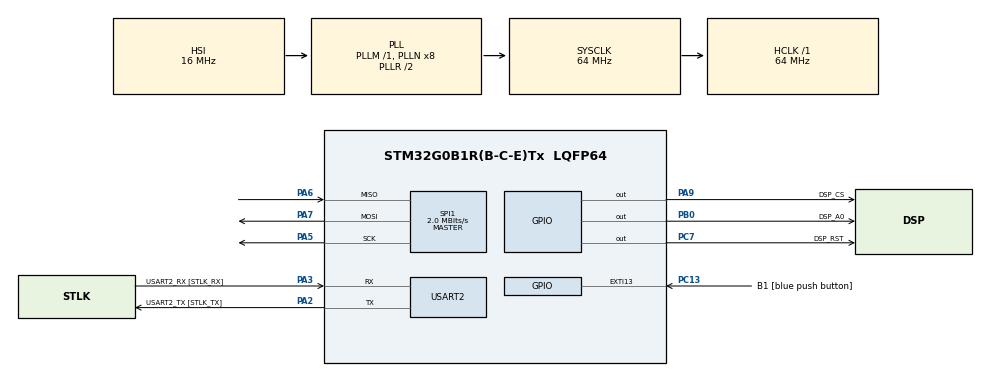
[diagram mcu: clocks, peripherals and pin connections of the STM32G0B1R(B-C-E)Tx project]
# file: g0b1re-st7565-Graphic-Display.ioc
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Mcu.Family=STM32G0
Mcu.Name=STM32G0B1R(B-C-E)Tx
Mcu.Package=LQFP64
PA13.GPIO_Label=TMS
PA13.Mode=Serial_Wire
PA13.Signal=SYS_SWDIO
PA14-BOOT0.GPIO_Label=TCK
PA14-BOOT0.Mode=Serial_Wire
PA14-BOOT0.Signal=SYS_SWCLK
PA2.GPIO_Label=USART2_TX [STLK_TX]
PA2.Mode=Asynchronous
PA2.Signal=USART2_TX
PA3.GPIO_Label=USART2_RX [STLK_RX]
PA3.Mode=Asynchronous
PA3.Signal=USART2_RX
PA5.Mode=Full_Duplex_Master
PA5.Signal=SPI1_SCK
PA6.Mode=Full_Duplex_Master
PA6.Signal=SPI1_MISO
PA7.Mode=Full_Duplex_Master
PA7.Signal=SPI1_MOSI
PA9.GPIO_Label=DSP_CS
PA9.GPIO_Speed=GPIO_SPEED_FREQ_VERY_HIGH
PA9.PinState=GPIO_PIN_SET
PA9.Signal=GPIO_Output
PB0.GPIO_Label=DSP_A0
PB0.GPIO_Speed=GPIO_SPEED_FREQ_VERY_HIGH
PB0.PinState=GPIO_PIN_SET
PB0.Signal=GPIO_Output
PC13.GPIO_Label=B1 [blue push button]
PC13.Signal=GPXTI13
PC14-OSC32_IN\ (PC14).Mode=LSE-External-Oscillator
PC14-OSC32_IN\ (PC14).Signal=RCC_OSC32_IN
PC15-OSC32_OUT\ (PC15).Mode=LSE-External-Oscillator
PC15-OSC32_OUT\ (PC15).Signal=RCC_OSC32_OUT
PC7.GPIO_Label=DSP_RST
PC7.GPIO_Speed=GPIO_SPEED_FREQ_VERY_HIGH
PC7.PinState=GPIO_PIN_SET
PC7.Signal=GPIO_Output
PF0-OSC_IN\ (PF0).GPIO_Label=MCO
PF0-OSC_IN\ (PF0).Mode=HSE-External-Clock-Source
PF0-OSC_IN\ (PF0).Signal=RCC_OSC_IN
ProjectManager.HeapSize=0x200
ProjectManager.StackSize=0x400
ProjectManager.TargetToolchain=STM32CubeIDE
RCC.ADCFreq_Value=64000000
RCC.AHBFreq_Value=64000000
RCC.CortexFreq_Value=64000000
RCC.EXTERNAL_CLOCK_VALUE=12288000
RCC.HCLKFreq_Value=64000000
RCC.HSE_VALUE=8000000
RCC.HSI48_VALUE=48000000
RCC.HSI_VALUE=16000000
RCC.SYSCLKFreq_VALUE=64000000
RCC.SYSCLKSource=RCC_SYSCLKSOURCE_PLLCLK
RCC.USBFreq_Value=48000000
RCC.VCOOutputFreq_Value=128000000
SPI1.BaudRatePrescaler=SPI_BAUDRATEPRESCALER_32
SPI1.CLKPhase=SPI_PHASE_2EDGE
SPI1.CLKPolarity=SPI_POLARITY_HIGH
SPI1.CalculateBaudRate=2.0 MBits/s
SPI1.DataSize=SPI_DATASIZE_8BIT
SPI1.Direction=SPI_DIRECTION_2LINES
SPI1.Mode=SPI_MODE_MASTER
SPI1.VirtualType=VM_MASTER
USART2.VirtualMode-Asynchronous=VM_ASYNC
VP_SYS_VS_DBSignals.Mode=DisableDeadBatterySignals
board=NUCLEO-G0B1RE

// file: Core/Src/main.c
/* USER CODE BEGIN Header */
/**
 ******************************************************************************
 * @file           : main.c
 * @brief          : Main program body
 ******************************************************************************
 * @attention
 *
 * Copyright (c) 2025 STMicroelectronics.
 * All rights reserved.
 *
 * This software is licensed under terms that can be found in the LICENSE file
 * in the root directory of this software component.
 * If no LICENSE file comes with this software, it is provided AS-IS.
 *
 ******************************************************************************
 */
/* USER CODE END Header */
#include "main.h"

/* USER CODE BEGIN Includes */
#include <stdbool.h>
#include <stddef.h>

#include "GraphicDisplay.h"
#include "GraphicDisplay_Fonts.h"
#include "drivers/st7565/st7565.h"
/* USER CODE END Includes */

SPI_HandleTypeDef hspi1;

UART_HandleTypeDef huart2;

/* USER CODE BEGIN PV */
st7565_t St7565 = {0};
gd_t Graphic = {0};

const uint32_t cobra_width = 64;
const uint32_t cobra_height = 64;
const unsigned char cobra_bmp [] ={
		0x00,0x00,0x00,0xb4,0x00,0x00,0x00,0x00,0x00,0x00,0x00,0xef,0x03,0x00,0x00,0x00,
		0x00,0x00,0xc0,0x00,0x06,0x00,0x00,0x00,0x00,0x00,0x60,0x00,0x18,0x00,0x00,0x00,
		0x00,0x00,0x30,0x0e,0x30,0x00,0x00,0x00,0x00,0x00,0x98,0x1b,0x70,0x00,0x00,0x00,
		0x00,0x00,0x88,0x30,0xd0,0x00,0x00,0x00,0x00,0x00,0x84,0x68,0x90,0x01,0x00,0x00,
		0x00,0x00,0xc6,0xdc,0x30,0x03,0x00,0x00,0x00,0x00,0x82,0x87,0x21,0x06,0x00,0x00,
		0x00,0x00,0x02,0x03,0xc3,0x0c,0x00,0x00,0x00,0x00,0x03,0x01,0x86,0x3f,0x00,0x00,
		0x00,0x00,0x81,0x01,0x0c,0xe0,0x00,0x00,0x00,0x00,0x81,0x00,0x18,0x80,0x03,0x00,
		0x00,0x00,0x83,0x00,0x70,0x00,0x06,0x00,0x00,0x00,0x8f,0x00,0x40,0x00,0x04,0x00,
		0x00,0x00,0x99,0x00,0xc0,0x01,0x0c,0x00,0x00,0x00,0x91,0x00,0x00,0x03,0x04,0x00,
		0x00,0x00,0xb1,0x01,0x00,0x06,0x04,0x00,0x00,0x00,0x93,0x00,0x00,0x0c,0x0c,0x00,
		0x00,0x00,0x11,0x01,0x00,0x08,0x04,0x00,0x00,0x00,0x1a,0x03,0x00,0x18,0x08,0x00,
		0x00,0x00,0x0e,0x06,0x00,0x10,0x08,0x00,0x00,0x00,0x06,0x06,0x00,0x30,0x08,0x00,
		0x00,0x00,0x04,0x1b,0x00,0x60,0x0c,0x00,0x00,0x00,0x0c,0x32,0x00,0xc0,0x07,0x00,
		0x00,0x00,0x18,0x63,0x00,0x80,0x04,0x00,0x00,0x00,0x30,0xc6,0x00,0x00,0x0c,0x00,
		0x00,0x00,0x60,0xcc,0x01,0x00,0x08,0x00,0x00,0x00,0xc0,0x78,0x03,0x00,0x38,0x00,
		0x00,0x00,0x80,0x01,0x06,0x00,0x68,0x00,0x00,0x00,0x00,0x03,0x1c,0x00,0x0c,0x00,
		0x00,0x00,0x20,0x06,0x18,0x00,0x00,0x00,0x00,0x00,0xfe,0xff,0xff,0x7f,0x00,0x00,
		0x00,0x00,0x03,0x20,0x08,0xc0,0x00,0x00,0x00,0x00,0x01,0x60,0x0c,0x80,0x00,0x00,
		0x00,0x80,0x01,0xc0,0x07,0x80,0x01,0x00,0x00,0x80,0x00,0x80,0x02,0x00,0x01,0x00,
		0x00,0x00,0x01,0x00,0x00,0x80,0x00,0x00,0x00,0x00,0x03,0x00,0x00,0xc0,0x00,0x00,
		0x00,0xe0,0xff,0xff,0xff,0xff,0x07,0x00,0x00,0x38,0x49,0xb2,0x2c,0x49,0x1a,0x00,
		0x00,0x08,0x00,0x60,0x08,0x00,0x10,0x00,0x00,0x0c,0x00,0x40,0x0e,0x00,0x30,0x00,
		0x00,0x04,0xf0,0xc0,0x03,0x1e,0x20,0x00,0x00,0x08,0x98,0x01,0x00,0x33,0x30,0x00,
		0x00,0x08,0x0c,0x01,0x00,0x61,0x10,0x00,0x00,0xba,0x4c,0x2b,0xd5,0x65,0x5e,0x00,
		0x80,0xff,0xff,0xff,0xff,0xff,0xff,0x01,0xc0,0x00,0x00,0x20,0x08,0x00,0x00,0x03,
		0x40,0x00,0x00,0x60,0x0c,0x00,0x00,0x02,0x60,0x00,0x14,0xc0,0x07,0x50,0x00,0x06,
		0x20,0x00,0x3e,0x00,0x01,0xf8,0x00,0x04,0x40,0x00,0x63,0x00,0x00,0x8c,0x01,0x02,
		0xc0,0x00,0x41,0x00,0x00,0x04,0x01,0x03,0xf8,0xff,0xff,0xff,0xff,0xff,0xff,0x1f,
		0x0e,0x82,0x20,0x28,0x89,0x20,0x08,0x72,0x02,0x00,0x00,0x60,0x0c,0x00,0x00,0x40,
		0x03,0x40,0x00,0x40,0x06,0x00,0x02,0xc0,0x02,0xf0,0x01,0xc0,0x03,0x80,0x0f,0x80,
		0x03,0x18,0x03,0x00,0x00,0xc0,0x18,0x40,0x02,0x08,0x02,0x00,0x00,0x40,0x10,0x60,
		0xae,0x5a,0x57,0x55,0xb5,0xea,0x5e,0x35,0xf8,0xff,0xff,0xff,0xff,0xff,0xff,0x1f};
/* USER CODE END PV */

void SystemClock_Config(void);
static void MX_GPIO_Init(void);
static void MX_USART2_UART_Init(void);
static void MX_SPI1_Init(void);

/* USER CODE BEGIN 0 */
void _dsp_a0(uint8_t s){
	HAL_GPIO_WritePin(DSP_A0_GPIO_Port, DSP_A0_Pin, s);
}

void _dsp_cs(uint8_t s){
	HAL_GPIO_WritePin(DSP_CS_GPIO_Port, DSP_CS_Pin, s);
}

void _dsp_reset(uint8_t s){
	HAL_GPIO_WritePin(DSP_RST_GPIO_Port, DSP_RST_Pin, s);
}

uint8_t _dsp_write(uint8_t *data, uint32_t len){
	HAL_StatusTypeDef e;

	e = HAL_SPI_Transmit(&hspi1, data, len, 100);

	return (uint8_t)e;
}
/* USER CODE END 0 */

int main(void)
{
	uint32_t i, way;
	/* USER CODE BEGIN 1 */
	st7565_params_t St7565_Params = {
			.Mode = ST7565_MODE_SPI,
			.bUseExternalFrameBuffer = false,
			.u32Heigth = 64,
			.u32Width = 128,
			.delayMs = HAL_Delay,
			.spiA0 = _dsp_a0,
			.spiCs = _dsp_cs,
			.spiReset = _dsp_reset,
			.spiWrite = _dsp_write
	};

	gd_params_t Graphic_Params = {
			.DisplayDriver = Gd_Driver_ST7565,
			.DisplayHandle = (void*)(&St7565),
			.u32Height = 64,
			.u32Width = 128
	};
	/* USER CODE END 1 */

	/* MCU Configuration--------------------------------------------------------*/

	/* Reset of all peripherals, Initializes the Flash interface and the Systick. */
	HAL_Init();

	/* Configure the system clock */
	SystemClock_Config();

	/* Initialize all configured peripherals */
	MX_GPIO_Init();
	MX_USART2_UART_Init();
	MX_SPI1_Init();
	/* USER CODE BEGIN 2 */
	ST7565_Init(&St7565, &St7565_Params);

	GD_Init(&Graphic, &Graphic_Params);

	GD_DrawBitmap(&Graphic, 0, 0, cobra_bmp, cobra_width, cobra_height, GD_WHITE);

	GD_SetCursor(&Graphic, 60, 5);
	GD_WriteString(&Graphic, "ST7565", Font_11x18, GD_WHITE);

	GD_DrawRectangle(&Graphic, 78, 43, 122, 62, GD_WHITE);
	GD_FillRectangle(&Graphic, 80, 45, 120, 60, GD_WHITE);

	GD_UpdateScreen(&Graphic);

	HAL_Delay(1000);
	/* USER CODE END 2 */

	/* Infinite loop */
	/* USER CODE BEGIN WHILE */
	way = 0;
	i = 70;
	while (1)
	{
		if (way == 0){
			GD_DrawCircle(&Graphic, i, 30, 7, GD_BLACK);
			GD_FillCircle(&Graphic, i, 30, 5, GD_BLACK);
			i++;
			GD_DrawCircle(&Graphic, i, 30, 7, GD_WHITE);
			GD_FillCircle(&Graphic, i, 30, 5, GD_WHITE);
			if (i > 120){
				way = 1;
			}
		}
		else{
			GD_DrawCircle(&Graphic, i, 30, 7, GD_BLACK);
			GD_FillCircle(&Graphic, i, 30, 5, GD_BLACK);
			i--;
			GD_DrawCircle(&Graphic, i, 30, 7, GD_WHITE);
			GD_FillCircle(&Graphic, i, 30, 5, GD_WHITE);
			if (i < 70){
				way = 0;
			}
		}
		HAL_Delay(25);

		GD_UpdateScreen(&Graphic);
		/* USER CODE END WHILE */

	}
}

void SystemClock_Config(void)
{
	RCC_OscInitTypeDef RCC_OscInitStruct = {0};
	RCC_ClkInitTypeDef RCC_ClkInitStruct = {0};

	/** Configure the main internal regulator output voltage
	 */
	HAL_PWREx_ControlVoltageScaling(PWR_REGULATOR_VOLTAGE_SCALE1);

	/** Initializes the RCC Oscillators according to the specified parameters
	 * in the RCC_OscInitTypeDef structure.
	 */
	RCC_OscInitStruct.OscillatorType = RCC_OSCILLATORTYPE_HSI;
	RCC_OscInitStruct.HSIState = RCC_HSI_ON;
	RCC_OscInitStruct.HSIDiv = RCC_HSI_DIV1;
	RCC_OscInitStruct.HSICalibrationValue = RCC_HSICALIBRATION_DEFAULT;
	RCC_OscInitStruct.PLL.PLLState = RCC_PLL_ON;
	RCC_OscInitStruct.PLL.PLLSource = RCC_PLLSOURCE_HSI;
	RCC_OscInitStruct.PLL.PLLM = RCC_PLLM_DIV1;
	RCC_OscInitStruct.PLL.PLLN = 8;
	RCC_OscInitStruct.PLL.PLLP = RCC_PLLP_DIV2;
	RCC_OscInitStruct.PLL.PLLQ = RCC_PLLQ_DIV2;
	RCC_OscInitStruct.PLL.PLLR = RCC_PLLR_DIV2;
	if (HAL_RCC_OscConfig(&RCC_OscInitStruct) != HAL_OK)
	{
		Error_Handler();
	}

	/** Initializes the CPU, AHB and APB buses clocks
	 */
	RCC_ClkInitStruct.ClockType = RCC_CLOCKTYPE_HCLK|RCC_CLOCKTYPE_SYSCLK
			|RCC_CLOCKTYPE_PCLK1;
	RCC_ClkInitStruct.SYSCLKSource = RCC_SYSCLKSOURCE_PLLCLK;
	RCC_ClkInitStruct.AHBCLKDivider = RCC_SYSCLK_DIV1;
	RCC_ClkInitStruct.APB1CLKDivider = RCC_HCLK_DIV1;

	if (HAL_RCC_ClockConfig(&RCC_ClkInitStruct, FLASH_LATENCY_2) != HAL_OK)
	{
		Error_Handler();
	}
}

static void MX_SPI1_Init(void)
{

	/* SPI1 parameter configuration*/
	hspi1.Instance = SPI1;
	hspi1.Init.Mode = SPI_MODE_MASTER;
	hspi1.Init.Direction = SPI_DIRECTION_2LINES;
	hspi1.Init.DataSize = SPI_DATASIZE_8BIT;
	hspi1.Init.CLKPolarity = SPI_POLARITY_HIGH;
	hspi1.Init.CLKPhase = SPI_PHASE_2EDGE;
	hspi1.Init.NSS = SPI_NSS_SOFT;
	hspi1.Init.BaudRatePrescaler = SPI_BAUDRATEPRESCALER_32;
	hspi1.Init.FirstBit = SPI_FIRSTBIT_MSB;
	hspi1.Init.TIMode = SPI_TIMODE_DISABLE;
	hspi1.Init.CRCCalculation = SPI_CRCCALCULATION_DISABLE;
	hspi1.Init.CRCPolynomial = 7;
	hspi1.Init.CRCLength = SPI_CRC_LENGTH_DATASIZE;
	hspi1.Init.NSSPMode = SPI_NSS_PULSE_DISABLE;
	if (HAL_SPI_Init(&hspi1) != HAL_OK)
	{
		Error_Handler();
	}

}

static void MX_USART2_UART_Init(void)
{

	huart2.Instance = USART2;
	huart2.Init.BaudRate = 115200;
	huart2.Init.WordLength = UART_WORDLENGTH_8B;
	huart2.Init.StopBits = UART_STOPBITS_1;
	huart2.Init.Parity = UART_PARITY_NONE;
	huart2.Init.Mode = UART_MODE_TX_RX;
	huart2.Init.HwFlowCtl = UART_HWCONTROL_NONE;
	huart2.Init.OverSampling = UART_OVERSAMPLING_16;
	huart2.Init.OneBitSampling = UART_ONE_BIT_SAMPLE_DISABLE;
	huart2.Init.ClockPrescaler = UART_PRESCALER_DIV1;
	huart2.AdvancedInit.AdvFeatureInit = UART_ADVFEATURE_NO_INIT;
	if (HAL_UART_Init(&huart2) != HAL_OK)
	{
		Error_Handler();
	}
	if (HAL_UARTEx_SetTxFifoThreshold(&huart2, UART_TXFIFO_THRESHOLD_1_8) != HAL_OK)
	{
		Error_Handler();
	}
	if (HAL_UARTEx_SetRxFifoThreshold(&huart2, UART_RXFIFO_THRESHOLD_1_8) != HAL_OK)
	{
		Error_Handler();
	}
	if (HAL_UARTEx_DisableFifoMode(&huart2) != HAL_OK)
	{
		Error_Handler();
	}

}

static void MX_GPIO_Init(void)
{
	GPIO_InitTypeDef GPIO_InitStruct = {0};

	/* GPIO Ports Clock Enable */
	__HAL_RCC_GPIOC_CLK_ENABLE();
	__HAL_RCC_GPIOF_CLK_ENABLE();
	__HAL_RCC_GPIOA_CLK_ENABLE();
	__HAL_RCC_GPIOB_CLK_ENABLE();

	/*Configure GPIO pin Output Level */
	HAL_GPIO_WritePin(DSP_A0_GPIO_Port, DSP_A0_Pin, GPIO_PIN_SET);

	/*Configure GPIO pin Output Level */
	HAL_GPIO_WritePin(DSP_CS_GPIO_Port, DSP_CS_Pin, GPIO_PIN_SET);

	/*Configure GPIO pin Output Level */
	HAL_GPIO_WritePin(DSP_RST_GPIO_Port, DSP_RST_Pin, GPIO_PIN_SET);

	/*Configure GPIO pin : B1_Pin */
	GPIO_InitStruct.Pin = B1_Pin;
	GPIO_InitStruct.Mode = GPIO_MODE_IT_RISING;
	GPIO_InitStruct.Pull = GPIO_NOPULL;
	HAL_GPIO_Init(B1_GPIO_Port, &GPIO_InitStruct);

	/*Configure GPIO pin : DSP_A0_Pin */
	GPIO_InitStruct.Pin = DSP_A0_Pin;
	GPIO_InitStruct.Mode = GPIO_MODE_OUTPUT_PP;
	GPIO_InitStruct.Pull = GPIO_NOPULL;
	GPIO_InitStruct.Speed = GPIO_SPEED_FREQ_VERY_HIGH;
	HAL_GPIO_Init(DSP_A0_GPIO_Port, &GPIO_InitStruct);

	/*Configure GPIO pin : DSP_CS_Pin */
	GPIO_InitStruct.Pin = DSP_CS_Pin;
	GPIO_InitStruct.Mode = GPIO_MODE_OUTPUT_PP;
	GPIO_InitStruct.Pull = GPIO_NOPULL;
	GPIO_InitStruct.Speed = GPIO_SPEED_FREQ_VERY_HIGH;
	HAL_GPIO_Init(DSP_CS_GPIO_Port, &GPIO_InitStruct);

	/*Configure GPIO pin : DSP_RST_Pin */
	GPIO_InitStruct.Pin = DSP_RST_Pin;
	GPIO_InitStruct.Mode = GPIO_MODE_OUTPUT_PP;
	GPIO_InitStruct.Pull = GPIO_NOPULL;
	GPIO_InitStruct.Speed = GPIO_SPEED_FREQ_VERY_HIGH;
	HAL_GPIO_Init(DSP_RST_GPIO_Port, &GPIO_InitStruct);

}

void Error_Handler(void)
{
	__disable_irq();
	while (1)
	{
	}
}
